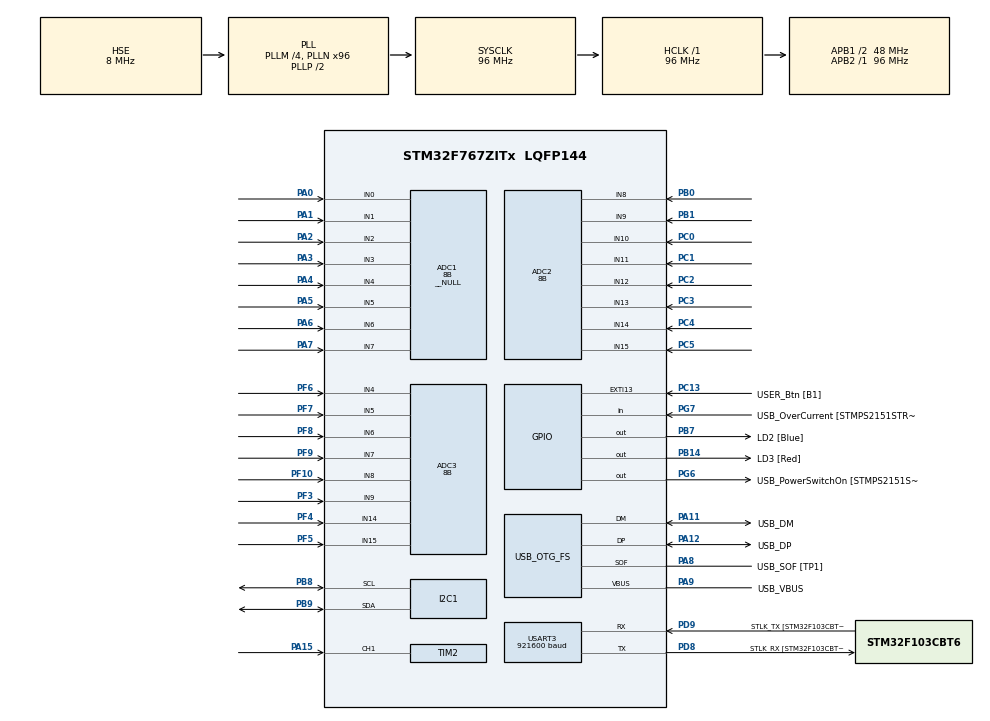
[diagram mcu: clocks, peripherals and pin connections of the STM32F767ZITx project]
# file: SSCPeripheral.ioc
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ADC1.Channel-0\#ChannelRegularConversion=ADC_CHANNEL_0
ADC1.Channel-1\#ChannelRegularConversion=ADC_CHANNEL_1
ADC1.Channel-2\#ChannelRegularConversion=ADC_CHANNEL_2
ADC1.Channel-3\#ChannelRegularConversion=ADC_CHANNEL_3
ADC1.Channel-4\#ChannelRegularConversion=ADC_CHANNEL_4
ADC1.Channel-5\#ChannelRegularConversion=ADC_CHANNEL_5
ADC1.Channel-6\#ChannelRegularConversion=ADC_CHANNEL_6
ADC1.Channel-7\#ChannelRegularConversion=ADC_CHANNEL_7
ADC1.ContinuousConvMode=ENABLE
ADC1.DMAContinuousRequests=ENABLE
ADC1.EOCSelection=ADC_EOC_SEQ_CONV
ADC1.Mode=__NULL
ADC1.NbrOfConversion=8
ADC1.NbrOfConversionFlag=1
ADC1.Rank-0\#ChannelRegularConversion=1
ADC1.Rank-1\#ChannelRegularConversion=2
ADC1.Rank-2\#ChannelRegularConversion=3
ADC1.Rank-3\#ChannelRegularConversion=4
ADC1.Rank-4\#ChannelRegularConversion=5
ADC1.Rank-5\#ChannelRegularConversion=6
ADC1.Rank-6\#ChannelRegularConversion=7
ADC1.Rank-7\#ChannelRegularConversion=8
ADC1.Resolution=ADC_RESOLUTION_8B
ADC1.SamplingTime-0\#ChannelRegularConversion=ADC_SAMPLETIME_3CYCLES
ADC1.SamplingTime-1\#ChannelRegularConversion=ADC_SAMPLETIME_3CYCLES
ADC1.SamplingTime-2\#ChannelRegularConversion=ADC_SAMPLETIME_3CYCLES
ADC1.SamplingTime-3\#ChannelRegularConversion=ADC_SAMPLETIME_3CYCLES
ADC1.SamplingTime-4\#ChannelRegularConversion=ADC_SAMPLETIME_3CYCLES
ADC1.SamplingTime-5\#ChannelRegularConversion=ADC_SAMPLETIME_3CYCLES
ADC1.SamplingTime-6\#ChannelRegularConversion=ADC_SAMPLETIME_3CYCLES
ADC1.SamplingTime-7\#ChannelRegularConversion=ADC_SAMPLETIME_3CYCLES
ADC1.ScanConvMode=ADC_SCAN_ENABLE
ADC1.master=1
ADC2.Channel-10\#ChannelRegularConversion=ADC_CHANNEL_10
ADC2.Channel-11\#ChannelRegularConversion=ADC_CHANNEL_11
ADC2.Channel-12\#ChannelRegularConversion=ADC_CHANNEL_12
ADC2.Channel-13\#ChannelRegularConversion=ADC_CHANNEL_13
ADC2.Channel-14\#ChannelRegularConversion=ADC_CHANNEL_14
ADC2.Channel-15\#ChannelRegularConversion=ADC_CHANNEL_15
ADC2.Channel-8\#ChannelRegularConversion=ADC_CHANNEL_8
ADC2.Channel-9\#ChannelRegularConversion=ADC_CHANNEL_9
ADC2.ContinuousConvMode=ENABLE
ADC2.DMAContinuousRequests=ENABLE
ADC2.EOCSelection=ADC_EOC_SEQ_CONV
ADC2.NbrOfConversion=8
ADC2.NbrOfConversionFlag=1
ADC2.Rank-10\#ChannelRegularConversion=3
ADC2.Rank-11\#ChannelRegularConversion=4
ADC2.Rank-12\#ChannelRegularConversion=5
ADC2.Rank-13\#ChannelRegularConversion=6
ADC2.Rank-14\#ChannelRegularConversion=7
ADC2.Rank-15\#ChannelRegularConversion=8
ADC2.Rank-8\#ChannelRegularConversion=1
ADC2.Rank-9\#ChannelRegularConversion=2
ADC2.Resolution=ADC_RESOLUTION_8B
ADC2.SamplingTime-10\#ChannelRegularConversion=ADC_SAMPLETIME_3CYCLES
ADC2.SamplingTime-11\#ChannelRegularConversion=ADC_SAMPLETIME_3CYCLES
ADC2.SamplingTime-12\#ChannelRegularConversion=ADC_SAMPLETIME_3CYCLES
ADC2.SamplingTime-13\#ChannelRegularConversion=ADC_SAMPLETIME_3CYCLES
ADC2.SamplingTime-14\#ChannelRegularConversion=ADC_SAMPLETIME_3CYCLES
ADC2.SamplingTime-15\#ChannelRegularConversion=ADC_SAMPLETIME_3CYCLES
ADC2.SamplingTime-8\#ChannelRegularConversion=ADC_SAMPLETIME_3CYCLES
ADC2.SamplingTime-9\#ChannelRegularConversion=ADC_SAMPLETIME_3CYCLES
ADC2.ScanConvMode=ADC_SCAN_ENABLE
ADC3.Channel-0\#ChannelRegularConversion=ADC_CHANNEL_4
ADC3.Channel-10\#ChannelRegularConversion=ADC_CHANNEL_14
ADC3.Channel-11\#ChannelRegularConversion=ADC_CHANNEL_15
ADC3.Channel-5\#ChannelRegularConversion=ADC_CHANNEL_5
ADC3.Channel-6\#ChannelRegularConversion=ADC_CHANNEL_6
ADC3.Channel-7\#ChannelRegularConversion=ADC_CHANNEL_7
ADC3.Channel-8\#ChannelRegularConversion=ADC_CHANNEL_8
ADC3.Channel-9\#ChannelRegularConversion=ADC_CHANNEL_9
ADC3.ContinuousConvMode=ENABLE
ADC3.DMAContinuousRequests=ENABLE
ADC3.EOCSelection=ADC_EOC_SEQ_CONV
ADC3.InjNumberOfConversion=0
ADC3.NbrOfConversion=8
ADC3.NbrOfConversionFlag=1
ADC3.Rank-0\#ChannelRegularConversion=1
ADC3.Rank-10\#ChannelRegularConversion=7
ADC3.Rank-11\#ChannelRegularConversion=8
ADC3.Rank-5\#ChannelRegularConversion=2
ADC3.Rank-6\#ChannelRegularConversion=3
ADC3.Rank-7\#ChannelRegularConversion=4
ADC3.Rank-8\#ChannelRegularConversion=5
ADC3.Rank-9\#ChannelRegularConversion=6
ADC3.Resolution=ADC_RESOLUTION_8B
ADC3.SamplingTime-0\#ChannelRegularConversion=ADC_SAMPLETIME_3CYCLES
ADC3.SamplingTime-10\#ChannelRegularConversion=ADC_SAMPLETIME_3CYCLES
ADC3.SamplingTime-11\#ChannelRegularConversion=ADC_SAMPLETIME_3CYCLES
ADC3.SamplingTime-5\#ChannelRegularConversion=ADC_SAMPLETIME_3CYCLES
ADC3.SamplingTime-6\#ChannelRegularConversion=ADC_SAMPLETIME_3CYCLES
ADC3.SamplingTime-7\#ChannelRegularConversion=ADC_SAMPLETIME_3CYCLES
ADC3.SamplingTime-8\#ChannelRegularConversion=ADC_SAMPLETIME_3CYCLES
ADC3.SamplingTime-9\#ChannelRegularConversion=ADC_SAMPLETIME_3CYCLES
ADC3.TwoSamplingDelay=ADC_TWOSAMPLINGDELAY_15CYCLES
Dma.ADC1.0.Direction=DMA_PERIPH_TO_MEMORY
Dma.ADC1.0.FIFOMode=DMA_FIFOMODE_DISABLE
Dma.ADC1.0.Instance=DMA2_Stream0
Dma.ADC1.0.MemDataAlignment=DMA_MDATAALIGN_HALFWORD
Dma.ADC1.0.MemInc=DMA_MINC_ENABLE
Dma.ADC1.0.Mode=DMA_CIRCULAR
Dma.ADC1.0.PeriphDataAlignment=DMA_PDATAALIGN_HALFWORD
Dma.ADC1.0.PeriphInc=DMA_PINC_DISABLE
Dma.ADC1.0.Priority=DMA_PRIORITY_LOW
Dma.ADC2.2.Direction=DMA_PERIPH_TO_MEMORY
Dma.ADC2.2.FIFOMode=DMA_FIFOMODE_DISABLE
Dma.ADC2.2.Instance=DMA2_Stream2
Dma.ADC2.2.MemDataAlignment=DMA_MDATAALIGN_HALFWORD
Dma.ADC2.2.MemInc=DMA_MINC_ENABLE
Dma.ADC2.2.Mode=DMA_CIRCULAR
Dma.ADC2.2.PeriphDataAlignment=DMA_PDATAALIGN_HALFWORD
Dma.ADC2.2.PeriphInc=DMA_PINC_DISABLE
Dma.ADC2.2.Priority=DMA_PRIORITY_LOW
Dma.ADC3.1.Direction=DMA_PERIPH_TO_MEMORY
Dma.ADC3.1.FIFOMode=DMA_FIFOMODE_DISABLE
Dma.ADC3.1.Instance=DMA2_Stream1
Dma.ADC3.1.MemDataAlignment=DMA_MDATAALIGN_HALFWORD
Dma.ADC3.1.MemInc=DMA_MINC_ENABLE
Dma.ADC3.1.Mode=DMA_CIRCULAR
Dma.ADC3.1.PeriphDataAlignment=DMA_PDATAALIGN_HALFWORD
Dma.ADC3.1.PeriphInc=DMA_PINC_DISABLE
Dma.ADC3.1.Priority=DMA_PRIORITY_LOW
Dma.Request0=ADC1
Dma.Request1=ADC3
Dma.Request2=ADC2
I2C1.OwnAddress=1
I2C1.Timing=0x20303E5D
Mcu.Family=STM32F7
Mcu.Name=STM32F767ZITx
Mcu.Package=LQFP144
NVIC.DMA2_Stream0_IRQn=true\:0\:0\:false\:false\:true\:false\:true
NVIC.DMA2_Stream1_IRQn=true\:0\:0\:false\:false\:true\:false\:true
NVIC.DMA2_Stream2_IRQn=true\:0\:0\:false\:false\:true\:false\:true
NVIC.I2C1_ER_IRQn=true\:0\:0\:false\:false\:true\:true\:true
NVIC.I2C1_EV_IRQn=true\:0\:0\:false\:false\:true\:true\:true
NVIC.PriorityGroup=NVIC_PRIORITYGROUP_4
PA0/WKUP.Signal=ADCx_IN0
PA1.Signal=ADCx_IN1
PA10.GPIO_Label=USB_ID
PA10.Signal=USB_OTG_FS_ID
PA11.GPIO_Label=USB_DM
PA11.Mode=Device_Only
PA11.Signal=USB_OTG_FS_DM
PA12.GPIO_Label=USB_DP
PA12.Mode=Device_Only
PA12.Signal=USB_OTG_FS_DP
PA13.GPIO_Label=TMS
PA13.Mode=Serial_Wire
PA13.Signal=SYS_JTMS-SWDIO
PA14.GPIO_Label=TCK
PA14.Mode=Serial_Wire
PA14.Signal=SYS_JTCK-SWCLK
PA15.Signal=S_TIM2_CH1_ETR
PA2.Signal=ADCx_IN2
PA3.Signal=ADCx_IN3
PA4.Signal=ADCx_IN4
PA5.Signal=ADCx_IN5
PA6.Signal=ADCx_IN6
PA7.Signal=ADCx_IN7
PA8.GPIO_Label=USB_SOF [TP1]
PA8.Mode=Activate_SOF_FS
PA8.Signal=USB_OTG_FS_SOF
PA9.GPIO_Label=USB_VBUS
PA9.Mode=Activate_VBUS
PA9.Signal=USB_OTG_FS_VBUS
PB0.Signal=ADCx_IN8
PB1.Signal=ADCx_IN9
PB13.GPIO_Label=RMII_TXD1 [LAN8742A-CZ-TR_TXD1]
PB13.Signal=ETH_TXD1
PB14.GPIO_Label=LD3 [Red]
PB14.Signal=GPIO_Output
PB3.GPIO_Label=SWO
PB3.Signal=SYS_JTDO-SWO
PB7.GPIO_Label=LD2 [Blue]
PB7.Signal=GPIO_Output
PB8.Mode=I2C
PB8.Signal=I2C1_SCL
PB9.Mode=I2C
PB9.Signal=I2C1_SDA
PC0.Signal=ADCx_IN10
PC1.Signal=ADCx_IN11
PC13.GPIO_Label=USER_Btn [B1]
PC13.Signal=GPXTI13
PC14/OSC32_IN.Mode=LSE-External-Oscillator
PC14/OSC32_IN.Signal=RCC_OSC32_IN
PC15/OSC32_OUT.Mode=LSE-External-Oscillator
PC15/OSC32_OUT.Signal=RCC_OSC32_OUT
PC2.Signal=ADCx_IN12
PC3.Signal=ADCx_IN13
PC4.Signal=ADCx_IN14
PC5.Signal=ADCx_IN15
PD8.GPIO_Label=STLK_RX [STM32F103CBT6_PA3]
PD8.Mode=Asynchronous
PD8.Signal=USART3_TX
PD9.GPIO_Label=STLK_TX [STM32F103CBT6_PA2]
PD9.Mode=Asynchronous
PD9.Signal=USART3_RX
PF10.Mode=IN8
PF10.Signal=ADC3_IN8
PF3.Mode=IN9
PF3.Signal=ADC3_IN9
PF4.Mode=IN14
PF4.Signal=ADC3_IN14
PF5.Mode=IN15
PF5.Signal=ADC3_IN15
PF6.Mode=IN4
PF6.Signal=ADC3_IN4
PF7.Mode=IN5
PF7.Signal=ADC3_IN5
PF8.Mode=IN6
PF8.Signal=ADC3_IN6
PF9.Mode=IN7
PF9.Signal=ADC3_IN7
PG11.GPIO_Label=RMII_TX_EN [LAN8742A-CZ-TR_TXEN]
PG11.Signal=ETH_TX_EN
PG13.GPIO_Label=RMII_TXD0 [LAN8742A-CZ-TR_TXD0]
PG13.Signal=ETH_TXD0
PG6.GPIO_Label=USB_PowerSwitchOn [STMPS2151STR_EN]
PG6.Signal=GPIO_Output
PG7.GPIO_Label=USB_OverCurrent [STMPS2151STR_FAULT]
PG7.Signal=GPIO_Input
PH0/OSC_IN.GPIO_Label=MCO [STM32F103CBT6_PA8]
PH0/OSC_IN.Mode=HSE-External-Clock-Source
PH0/OSC_IN.Signal=RCC_OSC_IN
PH1/OSC_OUT.Mode=HSE-External-Clock-Source
PH1/OSC_OUT.Signal=RCC_OSC_OUT
ProjectManager.HeapSize=0x80000
ProjectManager.StackSize=0x400
ProjectManager.TargetToolchain=STM32CubeIDE
RCC.48MHZClocksFreq_Value=24000000
RCC.AHBFreq_Value=96000000
RCC.APB1CLKDivider=RCC_HCLK_DIV2
RCC.APB1Freq_Value=48000000
RCC.APB1TimFreq_Value=96000000
RCC.APB2Freq_Value=96000000
RCC.APB2TimFreq_Value=96000000
RCC.CortexFreq_Value=96000000
RCC.HCLKFreq_Value=96000000
RCC.HSE_VALUE=8000000
RCC.HSI_VALUE=16000000
RCC.PLLM=4
RCC.PLLMUL=RCC_PLL_MUL9
RCC.PLLN=96
RCC.PLLQ=4
RCC.PRESCALERUSB=RCC_USBCLKSOURCE_PLL_DIV1_5
RCC.SYSCLKFreq_VALUE=96000000
RCC.SYSCLKSource=RCC_SYSCLKSOURCE_PLLCLK
RCC.SYSCLKSourceVirtual=RCC_SYSCLKSOURCE_PLLCLK
RCC.USBFreq_Value=48000000
RCC.VCOOutputFreq_Value=192000000
SH.ADCx_IN0.0=ADC1_IN0,IN0
SH.ADCx_IN1.0=ADC1_IN1,IN1
SH.ADCx_IN10.0=ADC2_IN10,IN10
SH.ADCx_IN11.0=ADC1_IN11
SH.ADCx_IN11.1=ADC2_IN11,IN11
SH.ADCx_IN12.0=ADC2_IN12,IN12
SH.ADCx_IN13.0=ADC2_IN13,IN13
SH.ADCx_IN14.0=ADC1_IN14
SH.ADCx_IN14.1=ADC2_IN14,IN14
SH.ADCx_IN15.0=ADC1_IN15
SH.ADCx_IN15.1=ADC2_IN15,IN15
SH.ADCx_IN2.0=ADC1_IN2,IN2
SH.ADCx_IN3.0=ADC1_IN3,IN3
SH.ADCx_IN4.0=ADC1_IN4,IN4
SH.ADCx_IN5.0=ADC1_IN5,IN5
SH.ADCx_IN6.0=ADC1_IN6,IN6
SH.ADCx_IN7.0=ADC1_IN7,IN7
SH.ADCx_IN8.0=ADC1_IN8
SH.ADCx_IN8.1=ADC2_IN8,IN8
SH.ADCx_IN9.0=ADC2_IN9,IN9
SH.S_TIM2_CH1_ETR.0=TIM2_CH1,Input_Capture1_from_TI1
TIM2.Channel-Input_Capture1_from_TI1=TIM_CHANNEL_1
TIM2.Prescaler=95
USART3.BaudRate=921600
USART3.VirtualMode-Asynchronous=VM_ASYNC
USB_OTG_FS.VirtualMode=Device_Only
VP_TIM2_VS_ClockSourceINT.Mode=Internal
board=NUCLEO-F767ZI

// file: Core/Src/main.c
/* USER CODE BEGIN Header */
/**
  ******************************************************************************
  * @file           : main.c
  * @brief          : Main program body
  ******************************************************************************
  * @attention
  *
  * <h2><center>&copy; Copyright (c) 2021 STMicroelectronics.
  * All rights reserved.</center></h2>
  *
  * This software component is licensed by ST under BSD 3-Clause license,
  * the "License"; You may not use this file except in compliance with the
  * License. You may obtain a copy of the License at:
  *                        opensource.org/licenses/BSD-3-Clause
  *
  ******************************************************************************
  */
/* USER CODE END Header */
#include "main.h"

/* USER CODE BEGIN Includes */
#include <string.h>
#include <stdio.h>
#include <stdlib.h>

#include "I2CNetworkCommon.h"
#include "PeripheralReceiveCommands.h"
#include "TimeHelpers.h"
#include "ADCHelper.h"
/* USER CODE END Includes */

/* USER CODE BEGIN PD */
#define COMMAND_BUF_SIZE 1

/* USER CODE END PD */

ADC_HandleTypeDef hadc1;
ADC_HandleTypeDef hadc2;
ADC_HandleTypeDef hadc3;
DMA_HandleTypeDef hdma_adc1;
DMA_HandleTypeDef hdma_adc2;
DMA_HandleTypeDef hdma_adc3;

I2C_HandleTypeDef hi2c1;

TIM_HandleTypeDef htim2;

UART_HandleTypeDef huart3;

PCD_HandleTypeDef hpcd_USB_OTG_FS;

/* USER CODE BEGIN PV */

uint8_t commandBuf[COMMAND_BUF_SIZE];

int needToListenAgain = 0; //Temp. Used to flash LEDs outside of interrupt when an interrupt wants to flash them.

int needToFlashRed = 0; //Temp. Used to flash just the red one.
int needToFlashBlue = 0; //Temp. Used to flash just the blue one.

int paramsSet = 0; //1 if params have been set at least once.
sampleParams params; //Configuration for collecting samples - device count, buffer size, etc.

int needToStartSampling = 0; //1 when interrupt has triggered the sample to start, but that should happen in main loop.
int hasStartedSampling = 0; //1 when DMA sampling has started and has not finished yet.

/*
int hasFinishedSampling()
{
	return (*HasFinishedSampling(ADC_1) == 1 && *HasFinishedSampling(ADC_3) == 1);
}
*/

int hasProcessedFinishedSamples = 0; //True after sampling has finished and we've made them into sample packets ready for collection.

//From original, somewhat modified.
//uint16_t** transmitBuffers_ADC1; //Filled with data from adc1_buf as it completes, and remains until cleared.
//uint16_t** transmitBuffers_ADC3; //Filled with data from adc3_buf as it completes, and remains until cleared.

samplePacketHeader** processedHeaders;
uint16_t** processedSamples;

//Timing

//int currentCycle = 0;

//int currentCycle_ADC1 = 0;
//int currentCycle_ADC3 = 0;

/* USER CODE END PV */

void SystemClock_Config(void);
static void MX_GPIO_Init(void);
static void MX_DMA_Init(void);
static void MX_USART3_UART_Init(void);
static void MX_USB_OTG_FS_PCD_Init(void);
static void MX_I2C1_Init(void);
static void MX_ADC1_Init(void);
static void MX_TIM2_Init(void);
static void MX_ADC3_Init(void);
static void MX_ADC2_Init(void);
/* USER CODE BEGIN PFP */

void PrintUARTMessage(UART_HandleTypeDef *huart, const char message[]);

void ADC_DMAConvCplt_M1(DMA_HandleTypeDef *hdma); //Separate method called specifically when second buffer (DBM mode) finished.

/* USER CODE END PFP */

int main(void)
{

  /* MCU Configuration--------------------------------------------------------*/

  /* Reset of all peripherals, Initializes the Flash interface and the Systick. */
  HAL_Init();

  /* Configure the system clock */
  SystemClock_Config();

  /* Initialize all configured peripherals */
  MX_GPIO_Init();
  MX_DMA_Init();
  MX_USART3_UART_Init();
  MX_USB_OTG_FS_PCD_Init();
  MX_I2C1_Init();
  MX_ADC1_Init();
  MX_TIM2_Init();
  MX_ADC3_Init();
  MX_ADC2_Init();
  /* USER CODE BEGIN 2 */

  //Init the helper.
  InitADCHelper(&hadc1, &hadc2, &hadc3);

  //Make sure blue is reset, so we know we're not a host.
  HAL_GPIO_WritePin(LD2_GPIO_Port, LD2_Pin, GPIO_PIN_RESET);
  //Red to indicate that this is a peripheral.
  HAL_GPIO_WritePin(LD3_GPIO_Port, LD3_Pin, GPIO_PIN_SET);

  //Enable register 1 for the timer.
  //This would go better in that init function, but as I can't find how to enable it via the Cube GUI, I'd rather keep all my own init code in one place.
  //Useful thread about this and related topics: https://stackoverflow.com/questions/42747128/does-hal-gettick-return-ticks-or-milliseconds-and-how-to-measure-in-microsec
  //Copied from original.
  TIM2->CR1 = TIM_CR1_CEN;

  //Set up double buffer mode and M1 callback on DMA handles.
  hadc1.DMA_Handle->Instance->CR |= DMA_SxCR_DBM_Msk;
  hadc1.DMA_Handle->XferM1CpltCallback = ADC_DMAConvCplt_M1;

  hadc2.DMA_Handle->Instance->CR |= DMA_SxCR_DBM_Msk;
  hadc2.DMA_Handle->XferM1CpltCallback = ADC_DMAConvCplt_M1;

  hadc3.DMA_Handle->Instance->CR |= DMA_SxCR_DBM_Msk;
  hadc3.DMA_Handle->XferM1CpltCallback = ADC_DMAConvCplt_M1;

  HAL_I2C_Slave_Receive_IT(&hi2c1, commandBuf, COMMAND_BUF_SIZE);

  /* USER CODE END 2 */

  /* Infinite loop */
  /* USER CODE BEGIN WHILE */
  while (1)
  {
	  if(needToListenAgain == 1)
	  {
		  HAL_I2C_Slave_Receive_IT(&hi2c1, commandBuf, COMMAND_BUF_SIZE);

		  /*
		  //Testing only having lights flash.
		  HAL_GPIO_WritePin(LD3_GPIO_Port, LD3_Pin, GPIO_PIN_RESET);
		  HAL_Delay(150);
		  HAL_GPIO_WritePin(LD3_GPIO_Port, LD3_Pin, GPIO_PIN_SET);
		  */
		  needToListenAgain = 0;
	  }

	  //See if we've been told to start sampling.
	  if(needToStartSampling == 1)
	  {
		  //Check to see if the delay time has passed the requested delay.
		  uint32_t ticksSinceStartSamplingCommand = ReadCurrentTicks(htim2);
		  uint32_t msSinceStartSamplingCommand = TicksToSubSecond(htim2, ticksSinceStartSamplingCommand, MILLISECOND_DIVIDER);

		  if(msSinceStartSamplingCommand > params.DelayMS)
		  {
              needToStartSampling = 0;
              hasStartedSampling = 1;
              hasProcessedFinishedSamples = 0;

              StartSampling(htim2);

              HAL_GPIO_WritePin(LD2_GPIO_Port, LD2_Pin, GPIO_PIN_SET);
		  }
	  }

	  //Stop the DMA cycles if needed.
	  if(hasProcessedFinishedSamples == 0)
	  {
		  if(*HasFinishedSampling(ADC_1) == 1)
		  {
			  HAL_ADC_Stop_DMA(&hadc1);
		  }
		  if(*HasFinishedSampling(ADC_2) == 1 && hasProcessedFinishedSamples == 0 )
		  {
			  HAL_ADC_Stop_DMA(&hadc2);
		  }
		  if(*HasFinishedSampling(ADC_3) == 1 && hasProcessedFinishedSamples == 0 )
		  {
			  HAL_ADC_Stop_DMA(&hadc3);
		  }

		  //If both are done, process the samples.
		  if(AreAllADCsFinishedSampling() == 1)
		  //if(hasFinishedSampling_ADC1 == 1 && hasFinishedSampling_ADC3 == 1 && hasProcessedFinishedSamples == 0)
		  {
			  for(int cycle = 0; cycle < params.CycleCount; cycle ++)
			  {
				  for(int device = 0; device < TOTAL_DEVICE_COUNT; device++)
				  {
					  //Determine which device we're from and device within sample.
					  //Temp, should ideally be abstracted into a method to make this easier.
					  enum ADCNumber adcNumber;
					  int deviceIDWithinADC;
					  if(device < DeviceCount(ADC_1))
					  {
						  adcNumber = ADC_1;
						  deviceIDWithinADC = device;
					  }
					  else if (device < DeviceCount(ADC_1) + DeviceCount(ADC_2))
					  {
						  adcNumber = ADC_2;
						  deviceIDWithinADC = device - DeviceCount(ADC_1);
					  }
					  else
					  {
						  adcNumber = ADC_3;
						  deviceIDWithinADC = device - DeviceCount(ADC_1) - DeviceCount(ADC_2);
					  }

					  int sampleID = cycle * TOTAL_DEVICE_COUNT + device;

					  //Allocate buffers for the processed header and samples.

					  processedHeaders[sampleID] = malloc(sizeof(samplePacketHeader)); //Shouldn't need but we'll see.
					  processedSamples[sampleID] = calloc(BUFFER_SIZE_PER_DEVICE, sizeof(uint16_t));

					  uint32_t startTimeTicks = cycle == 0 ? *FirstCycleStartTicks(adcNumber) : (*CycleEndTimes(adcNumber))[cycle - 1];
					  uint32_t startTimeUs = TicksToSubSecond(htim2, startTimeTicks, MICROSECOND_DIVIDER);
					  uint32_t endTimeUs = TicksToSubSecond(htim2, (*CycleEndTimes(adcNumber))[cycle], MICROSECOND_DIVIDER);

					  samplePacketHeader* header = processedHeaders[sampleID];
					  header->DeviceID = device;
					  header->SampleID = sampleID;
					  header->startTimeUs = startTimeUs;
					  header->endTimeUs = endTimeUs;
					  header->AnalogInPinCount = TOTAL_DEVICE_COUNT;
					  header->SampleCount = BUFFER_SIZE_PER_DEVICE;

					  processedHeaders[sampleID] = header;

					  for(int i = 0; i < BUFFER_SIZE_PER_DEVICE; i++)
					  {
						  //processedSamples[sampleID][i] = (*TransmitBuffer(adcNumber))[cycle][i * DeviceCount(adcNumber) + deviceIDWithinADC];
						  uint16_t sample = (*TransmitBuffer(adcNumber))[cycle][i * DeviceCount(adcNumber) + deviceIDWithinADC];
						  processedSamples[sampleID][i] = sample;
					  }

				  }

				  free((*TransmitBuffer(ADC_1))[cycle]);
				  free((*TransmitBuffer(ADC_2))[cycle]);
				  free((*TransmitBuffer(ADC_3))[cycle]);
			  }

			  /*
			  //Debug
			  int totalSamples = TOTAL_DEVICE_COUNT * params.CycleCount;
			  samplePacketHeader debugHeaders[totalSamples];
			  uint16_t debugSamples[totalSamples][BUFFER_SIZE_PER_DEVICE];
			  for(int i = 0; i < totalSamples; i++)
			  {
				  samplePacketHeader header = *processedHeaders[i];
				  debugHeaders[i] = header;
				  for(int j = 0; j < BUFFER_SIZE_PER_DEVICE; j++)
				  {
					  debugSamples[i][j] = processedSamples[i][j];
				  }
			  }
			*/

			  hasProcessedFinishedSamples = 1;

			  HAL_GPIO_WritePin(LD2_GPIO_Port, LD2_Pin, GPIO_PIN_RESET);
		  }
  	  }

	  if(needToFlashRed == 1)
	  	  {
	  		  HAL_GPIO_WritePin(LD3_GPIO_Port, LD3_Pin, GPIO_PIN_RESET);
	  		  HAL_Delay(150);
	  		  HAL_GPIO_WritePin(LD3_GPIO_Port, LD3_Pin, GPIO_PIN_SET);

	  		  needToFlashRed = 0;
	  	  }

	  if(needToFlashBlue == 1)
	  {
		  //HAL_GPIO_WritePin(LD2_GPIO_Port, LD2_Pin, GPIO_PIN_SET);
		  //HAL_Delay(200);
		  HAL_GPIO_WritePin(LD2_GPIO_Port, LD2_Pin, GPIO_PIN_RESET);

		  needToFlashBlue = 0;
	  }

    /* USER CODE END WHILE */

  }
}

void SystemClock_Config(void)
{
  RCC_OscInitTypeDef RCC_OscInitStruct = {0};
  RCC_ClkInitTypeDef RCC_ClkInitStruct = {0};
  RCC_PeriphCLKInitTypeDef PeriphClkInitStruct = {0};

  /** Configure LSE Drive Capability
  */
  HAL_PWR_EnableBkUpAccess();
  /** Configure the main internal regulator output voltage
  */
  __HAL_RCC_PWR_CLK_ENABLE();
  __HAL_PWR_VOLTAGESCALING_CONFIG(PWR_REGULATOR_VOLTAGE_SCALE3);
  /** Initializes the RCC Oscillators according to the specified parameters
  * in the RCC_OscInitTypeDef structure.
  */
  RCC_OscInitStruct.OscillatorType = RCC_OSCILLATORTYPE_HSE;
  RCC_OscInitStruct.HSEState = RCC_HSE_BYPASS;
  RCC_OscInitStruct.PLL.PLLState = RCC_PLL_ON;
  RCC_OscInitStruct.PLL.PLLSource = RCC_PLLSOURCE_HSE;
  RCC_OscInitStruct.PLL.PLLM = 4;
  RCC_OscInitStruct.PLL.PLLN = 96;
  RCC_OscInitStruct.PLL.PLLP = RCC_PLLP_DIV2;
  RCC_OscInitStruct.PLL.PLLQ = 4;
  if (HAL_RCC_OscConfig(&RCC_OscInitStruct) != HAL_OK)
  {
    Error_Handler();
  }
  /** Activate the Over-Drive mode
  */
  if (HAL_PWREx_EnableOverDrive() != HAL_OK)
  {
    Error_Handler();
  }
  /** Initializes the CPU, AHB and APB buses clocks
  */
  RCC_ClkInitStruct.ClockType = RCC_CLOCKTYPE_HCLK|RCC_CLOCKTYPE_SYSCLK
                              |RCC_CLOCKTYPE_PCLK1|RCC_CLOCKTYPE_PCLK2;
  RCC_ClkInitStruct.SYSCLKSource = RCC_SYSCLKSOURCE_PLLCLK;
  RCC_ClkInitStruct.AHBCLKDivider = RCC_SYSCLK_DIV1;
  RCC_ClkInitStruct.APB1CLKDivider = RCC_HCLK_DIV2;
  RCC_ClkInitStruct.APB2CLKDivider = RCC_HCLK_DIV1;

  if (HAL_RCC_ClockConfig(&RCC_ClkInitStruct, FLASH_LATENCY_3) != HAL_OK)
  {
    Error_Handler();
  }
  PeriphClkInitStruct.PeriphClockSelection = RCC_PERIPHCLK_USART3|RCC_PERIPHCLK_I2C1
                              |RCC_PERIPHCLK_CLK48;
  PeriphClkInitStruct.Usart3ClockSelection = RCC_USART3CLKSOURCE_PCLK1;
  PeriphClkInitStruct.I2c1ClockSelection = RCC_I2C1CLKSOURCE_PCLK1;
  PeriphClkInitStruct.Clk48ClockSelection = RCC_CLK48SOURCE_PLL;
  if (HAL_RCCEx_PeriphCLKConfig(&PeriphClkInitStruct) != HAL_OK)
  {
    Error_Handler();
  }
}

static void MX_ADC1_Init(void)
{

  ADC_ChannelConfTypeDef sConfig = {0};

  /** Configure the global features of the ADC (Clock, Resolution, Data Alignment and number of conversion)
  */
  hadc1.Instance = ADC1;
  hadc1.Init.ClockPrescaler = ADC_CLOCK_SYNC_PCLK_DIV4;
  hadc1.Init.Resolution = ADC_RESOLUTION_8B;
  hadc1.Init.ScanConvMode = ADC_SCAN_ENABLE;
  hadc1.Init.ContinuousConvMode = ENABLE;
  hadc1.Init.DiscontinuousConvMode = DISABLE;
  hadc1.Init.ExternalTrigConvEdge = ADC_EXTERNALTRIGCONVEDGE_NONE;
  hadc1.Init.ExternalTrigConv = ADC_SOFTWARE_START;
  hadc1.Init.DataAlign = ADC_DATAALIGN_RIGHT;
  hadc1.Init.NbrOfConversion = 8;
  hadc1.Init.DMAContinuousRequests = ENABLE;
  hadc1.Init.EOCSelection = ADC_EOC_SEQ_CONV;
  if (HAL_ADC_Init(&hadc1) != HAL_OK)
  {
    Error_Handler();
  }
  /** Configure for the selected ADC regular channel its corresponding rank in the sequencer and its sample time.
  */
  sConfig.Channel = ADC_CHANNEL_0;
  sConfig.Rank = ADC_REGULAR_RANK_1;
  sConfig.SamplingTime = ADC_SAMPLETIME_3CYCLES;
  if (HAL_ADC_ConfigChannel(&hadc1, &sConfig) != HAL_OK)
  {
    Error_Handler();
  }
  /** Configure for the selected ADC regular channel its corresponding rank in the sequencer and its sample time.
  */
  sConfig.Channel = ADC_CHANNEL_1;
  sConfig.Rank = ADC_REGULAR_RANK_2;
  if (HAL_ADC_ConfigChannel(&hadc1, &sConfig) != HAL_OK)
  {
    Error_Handler();
  }
  /** Configure for the selected ADC regular channel its corresponding rank in the sequencer and its sample time.
  */
  sConfig.Channel = ADC_CHANNEL_2;
  sConfig.Rank = ADC_REGULAR_RANK_3;
  if (HAL_ADC_ConfigChannel(&hadc1, &sConfig) != HAL_OK)
  {
    Error_Handler();
  }
  /** Configure for the selected ADC regular channel its corresponding rank in the sequencer and its sample time.
  */
  sConfig.Channel = ADC_CHANNEL_3;
  sConfig.Rank = ADC_REGULAR_RANK_4;
  if (HAL_ADC_ConfigChannel(&hadc1, &sConfig) != HAL_OK)
  {
    Error_Handler();
  }
  /** Configure for the selected ADC regular channel its corresponding rank in the sequencer and its sample time.
  */
  sConfig.Channel = ADC_CHANNEL_4;
  sConfig.Rank = ADC_REGULAR_RANK_5;
  if (HAL_ADC_ConfigChannel(&hadc1, &sConfig) != HAL_OK)
  {
    Error_Handler();
  }
  /** Configure for the selected ADC regular channel its corresponding rank in the sequencer and its sample time.
  */
  sConfig.Channel = ADC_CHANNEL_5;
  sConfig.Rank = ADC_REGULAR_RANK_6;
  if (HAL_ADC_ConfigChannel(&hadc1, &sConfig) != HAL_OK)
  {
    Error_Handler();
  }
  /** Configure for the selected ADC regular channel its corresponding rank in the sequencer and its sample time.
  */
  sConfig.Channel = ADC_CHANNEL_6;
  sConfig.Rank = ADC_REGULAR_RANK_7;
  if (HAL_ADC_ConfigChannel(&hadc1, &sConfig) != HAL_OK)
  {
    Error_Handler();
  }
  /** Configure for the selected ADC regular channel its corresponding rank in the sequencer and its sample time.
  */
  sConfig.Channel = ADC_CHANNEL_7;
  sConfig.Rank = ADC_REGULAR_RANK_8;
  if (HAL_ADC_ConfigChannel(&hadc1, &sConfig) != HAL_OK)
  {
    Error_Handler();
  }

}

static void MX_ADC2_Init(void)
{

  ADC_ChannelConfTypeDef sConfig = {0};

  /** Configure the global features of the ADC (Clock, Resolution, Data Alignment and number of conversion)
  */
  hadc2.Instance = ADC2;
  hadc2.Init.ClockPrescaler = ADC_CLOCK_SYNC_PCLK_DIV4;
  hadc2.Init.Resolution = ADC_RESOLUTION_8B;
  hadc2.Init.ScanConvMode = ADC_SCAN_ENABLE;
  hadc2.Init.ContinuousConvMode = ENABLE;
  hadc2.Init.DiscontinuousConvMode = DISABLE;
  hadc2.Init.ExternalTrigConvEdge = ADC_EXTERNALTRIGCONVEDGE_NONE;
  hadc2.Init.ExternalTrigConv = ADC_SOFTWARE_START;
  hadc2.Init.DataAlign = ADC_DATAALIGN_RIGHT;
  hadc2.Init.NbrOfConversion = 8;
  hadc2.Init.DMAContinuousRequests = ENABLE;
  hadc2.Init.EOCSelection = ADC_EOC_SEQ_CONV;
  if (HAL_ADC_Init(&hadc2) != HAL_OK)
  {
    Error_Handler();
  }
  /** Configure for the selected ADC regular channel its corresponding rank in the sequencer and its sample time.
  */
  sConfig.Channel = ADC_CHANNEL_8;
  sConfig.Rank = ADC_REGULAR_RANK_1;
  sConfig.SamplingTime = ADC_SAMPLETIME_3CYCLES;
  if (HAL_ADC_ConfigChannel(&hadc2, &sConfig) != HAL_OK)
  {
    Error_Handler();
  }
  /** Configure for the selected ADC regular channel its corresponding rank in the sequencer and its sample time.
  */
  sConfig.Channel = ADC_CHANNEL_9;
  sConfig.Rank = ADC_REGULAR_RANK_2;
  if (HAL_ADC_ConfigChannel(&hadc2, &sConfig) != HAL_OK)
  {
    Error_Handler();
  }
  /** Configure for the selected ADC regular channel its corresponding rank in the sequencer and its sample time.
  */
  sConfig.Channel = ADC_CHANNEL_10;
  sConfig.Rank = ADC_REGULAR_RANK_3;
  if (HAL_ADC_ConfigChannel(&hadc2, &sConfig) != HAL_OK)
  {
    Error_Handler();
  }
  /** Configure for the selected ADC regular channel its corresponding rank in the sequencer and its sample time.
  */
  sConfig.Channel = ADC_CHANNEL_11;
  sConfig.Rank = ADC_REGULAR_RANK_4;
  if (HAL_ADC_ConfigChannel(&hadc2, &sConfig) != HAL_OK)
  {
    Error_Handler();
  }
  /** Configure for the selected ADC regular channel its corresponding rank in the sequencer and its sample time.
  */
  sConfig.Channel = ADC_CHANNEL_12;
  sConfig.Rank = ADC_REGULAR_RANK_5;
  if (HAL_ADC_ConfigChannel(&hadc2, &sConfig) != HAL_OK)
  {
    Error_Handler();
  }
  /** Configure for the selected ADC regular channel its corresponding rank in the sequencer and its sample time.
  */
  sConfig.Channel = ADC_CHANNEL_13;
  sConfig.Rank = ADC_REGULAR_RANK_6;
  if (HAL_ADC_ConfigChannel(&hadc2, &sConfig) != HAL_OK)
  {
    Error_Handler();
  }
  /** Configure for the selected ADC regular channel its corresponding rank in the sequencer and its sample time.
  */
  sConfig.Channel = ADC_CHANNEL_14;
  sConfig.Rank = ADC_REGULAR_RANK_7;
  if (HAL_ADC_ConfigChannel(&hadc2, &sConfig) != HAL_OK)
  {
    Error_Handler();
  }
  /** Configure for the selected ADC regular channel its corresponding rank in the sequencer and its sample time.
  */
  sConfig.Channel = ADC_CHANNEL_15;
  sConfig.Rank = ADC_REGULAR_RANK_8;
  if (HAL_ADC_ConfigChannel(&hadc2, &sConfig) != HAL_OK)
  {
    Error_Handler();
  }

}

static void MX_ADC3_Init(void)
{

  ADC_ChannelConfTypeDef sConfig = {0};

  /** Configure the global features of the ADC (Clock, Resolution, Data Alignment and number of conversion)
  */
  hadc3.Instance = ADC3;
  hadc3.Init.ClockPrescaler = ADC_CLOCK_SYNC_PCLK_DIV4;
  hadc3.Init.Resolution = ADC_RESOLUTION_8B;
  hadc3.Init.ScanConvMode = ADC_SCAN_ENABLE;
  hadc3.Init.ContinuousConvMode = ENABLE;
  hadc3.Init.DiscontinuousConvMode = DISABLE;
  hadc3.Init.ExternalTrigConvEdge = ADC_EXTERNALTRIGCONVEDGE_NONE;
  hadc3.Init.ExternalTrigConv = ADC_SOFTWARE_START;
  hadc3.Init.DataAlign = ADC_DATAALIGN_RIGHT;
  hadc3.Init.NbrOfConversion = 8;
  hadc3.Init.DMAContinuousRequests = ENABLE;
  hadc3.Init.EOCSelection = ADC_EOC_SEQ_CONV;
  if (HAL_ADC_Init(&hadc3) != HAL_OK)
  {
    Error_Handler();
  }
  /** Configure for the selected ADC regular channel its corresponding rank in the sequencer and its sample time.
  */
  sConfig.Channel = ADC_CHANNEL_4;
  sConfig.Rank = ADC_REGULAR_RANK_1;
  sConfig.SamplingTime = ADC_SAMPLETIME_3CYCLES;
  if (HAL_ADC_ConfigChannel(&hadc3, &sConfig) != HAL_OK)
  {
    Error_Handler();
  }
  /** Configure for the selected ADC regular channel its corresponding rank in the sequencer and its sample time.
  */
  sConfig.Channel = ADC_CHANNEL_5;
  sConfig.Rank = ADC_REGULAR_RANK_2;
  if (HAL_ADC_ConfigChannel(&hadc3, &sConfig) != HAL_OK)
  {
    Error_Handler();
  }
  /** Configure for the selected ADC regular channel its corresponding rank in the sequencer and its sample time.
  */
  sConfig.Channel = ADC_CHANNEL_6;
  sConfig.Rank = ADC_REGULAR_RANK_3;
  if (HAL_ADC_ConfigChannel(&hadc3, &sConfig) != HAL_OK)
  {
    Error_Handler();
  }
  /** Configure for the selected ADC regular channel its corresponding rank in the sequencer and its sample time.
  */
  sConfig.Channel = ADC_CHANNEL_7;
  sConfig.Rank = ADC_REGULAR_RANK_4;
  if (HAL_ADC_ConfigChannel(&hadc3, &sConfig) != HAL_OK)
  {
    Error_Handler();
  }
  /** Configure for the selected ADC regular channel its corresponding rank in the sequencer and its sample time.
  */
  sConfig.Channel = ADC_CHANNEL_8;
  sConfig.Rank = ADC_REGULAR_RANK_5;
  if (HAL_ADC_ConfigChannel(&hadc3, &sConfig) != HAL_OK)
  {
    Error_Handler();
  }
  /** Configure for the selected ADC regular channel its corresponding rank in the sequencer and its sample time.
  */
  sConfig.Channel = ADC_CHANNEL_9;
  sConfig.Rank = ADC_REGULAR_RANK_6;
  if (HAL_ADC_ConfigChannel(&hadc3, &sConfig) != HAL_OK)
  {
    Error_Handler();
  }
  /** Configure for the selected ADC regular channel its corresponding rank in the sequencer and its sample time.
  */
  sConfig.Channel = ADC_CHANNEL_14;
  sConfig.Rank = ADC_REGULAR_RANK_7;
  if (HAL_ADC_ConfigChannel(&hadc3, &sConfig) != HAL_OK)
  {
    Error_Handler();
  }
  /** Configure for the selected ADC regular channel its corresponding rank in the sequencer and its sample time.
  */
  sConfig.Channel = ADC_CHANNEL_15;
  sConfig.Rank = ADC_REGULAR_RANK_8;
  if (HAL_ADC_ConfigChannel(&hadc3, &sConfig) != HAL_OK)
  {
    Error_Handler();
  }

}

static void MX_I2C1_Init(void)
{

  hi2c1.Instance = I2C1;
  hi2c1.Init.Timing = 0x20303E5D;
  hi2c1.Init.OwnAddress1 = 2;
  hi2c1.Init.AddressingMode = I2C_ADDRESSINGMODE_7BIT;
  hi2c1.Init.DualAddressMode = I2C_DUALADDRESS_DISABLE;
  hi2c1.Init.OwnAddress2 = 0;
  hi2c1.Init.OwnAddress2Masks = I2C_OA2_NOMASK;
  hi2c1.Init.GeneralCallMode = I2C_GENERALCALL_DISABLE;
  hi2c1.Init.NoStretchMode = I2C_NOSTRETCH_DISABLE;
  if (HAL_I2C_Init(&hi2c1) != HAL_OK)
  {
    Error_Handler();
  }
  /** Configure Analogue filter
  */
  if (HAL_I2CEx_ConfigAnalogFilter(&hi2c1, I2C_ANALOGFILTER_ENABLE) != HAL_OK)
  {
    Error_Handler();
  }
  /** Configure Digital filter
  */
  if (HAL_I2CEx_ConfigDigitalFilter(&hi2c1, 0) != HAL_OK)
  {
    Error_Handler();
  }

}

static void MX_TIM2_Init(void)
{

  TIM_ClockConfigTypeDef sClockSourceConfig = {0};
  TIM_MasterConfigTypeDef sMasterConfig = {0};
  TIM_IC_InitTypeDef sConfigIC = {0};

  htim2.Instance = TIM2;
  htim2.Init.Prescaler = 95;
  htim2.Init.CounterMode = TIM_COUNTERMODE_UP;
  htim2.Init.Period = 4294967295;
  htim2.Init.ClockDivision = TIM_CLOCKDIVISION_DIV1;
  htim2.Init.AutoReloadPreload = TIM_AUTORELOAD_PRELOAD_DISABLE;
  if (HAL_TIM_Base_Init(&htim2) != HAL_OK)
  {
    Error_Handler();
  }
  sClockSourceConfig.ClockSource = TIM_CLOCKSOURCE_INTERNAL;
  if (HAL_TIM_ConfigClockSource(&htim2, &sClockSourceConfig) != HAL_OK)
  {
    Error_Handler();
  }
  if (HAL_TIM_IC_Init(&htim2) != HAL_OK)
  {
    Error_Handler();
  }
  sMasterConfig.MasterOutputTrigger = TIM_TRGO_RESET;
  sMasterConfig.MasterSlaveMode = TIM_MASTERSLAVEMODE_DISABLE;
  if (HAL_TIMEx_MasterConfigSynchronization(&htim2, &sMasterConfig) != HAL_OK)
  {
    Error_Handler();
  }
  sConfigIC.ICPolarity = TIM_INPUTCHANNELPOLARITY_RISING;
  sConfigIC.ICSelection = TIM_ICSELECTION_DIRECTTI;
  sConfigIC.ICPrescaler = TIM_ICPSC_DIV1;
  sConfigIC.ICFilter = 0;
  if (HAL_TIM_IC_ConfigChannel(&htim2, &sConfigIC, TIM_CHANNEL_1) != HAL_OK)
  {
    Error_Handler();
  }

}

static void MX_USART3_UART_Init(void)
{

  huart3.Instance = USART3;
  huart3.Init.BaudRate = 921600;
  huart3.Init.WordLength = UART_WORDLENGTH_8B;
  huart3.Init.StopBits = UART_STOPBITS_1;
  huart3.Init.Parity = UART_PARITY_NONE;
  huart3.Init.Mode = UART_MODE_TX_RX;
  huart3.Init.HwFlowCtl = UART_HWCONTROL_NONE;
  huart3.Init.OverSampling = UART_OVERSAMPLING_16;
  huart3.Init.OneBitSampling = UART_ONE_BIT_SAMPLE_DISABLE;
  huart3.AdvancedInit.AdvFeatureInit = UART_ADVFEATURE_NO_INIT;
  if (HAL_UART_Init(&huart3) != HAL_OK)
  {
    Error_Handler();
  }

}

static void MX_USB_OTG_FS_PCD_Init(void)
{

  hpcd_USB_OTG_FS.Instance = USB_OTG_FS;
  hpcd_USB_OTG_FS.Init.dev_endpoints = 6;
  hpcd_USB_OTG_FS.Init.speed = PCD_SPEED_FULL;
  hpcd_USB_OTG_FS.Init.dma_enable = DISABLE;
  hpcd_USB_OTG_FS.Init.phy_itface = PCD_PHY_EMBEDDED;
  hpcd_USB_OTG_FS.Init.Sof_enable = ENABLE;
  hpcd_USB_OTG_FS.Init.low_power_enable = DISABLE;
  hpcd_USB_OTG_FS.Init.lpm_enable = DISABLE;
  hpcd_USB_OTG_FS.Init.vbus_sensing_enable = ENABLE;
  hpcd_USB_OTG_FS.Init.use_dedicated_ep1 = DISABLE;
  if (HAL_PCD_Init(&hpcd_USB_OTG_FS) != HAL_OK)
  {
    Error_Handler();
  }

}

static void MX_DMA_Init(void)
{

  /* DMA controller clock enable */
  __HAL_RCC_DMA2_CLK_ENABLE();

  /* DMA interrupt init */
  /* DMA2_Stream0_IRQn interrupt configuration */
  HAL_NVIC_SetPriority(DMA2_Stream0_IRQn, 0, 0);
  HAL_NVIC_EnableIRQ(DMA2_Stream0_IRQn);
  /* DMA2_Stream1_IRQn interrupt configuration */
  HAL_NVIC_SetPriority(DMA2_Stream1_IRQn, 0, 0);
  HAL_NVIC_EnableIRQ(DMA2_Stream1_IRQn);
  /* DMA2_Stream2_IRQn interrupt configuration */
  HAL_NVIC_SetPriority(DMA2_Stream2_IRQn, 0, 0);
  HAL_NVIC_EnableIRQ(DMA2_Stream2_IRQn);

}

static void MX_GPIO_Init(void)
{
  GPIO_InitTypeDef GPIO_InitStruct = {0};

  /* GPIO Ports Clock Enable */
  __HAL_RCC_GPIOC_CLK_ENABLE();
  __HAL_RCC_GPIOF_CLK_ENABLE();
  __HAL_RCC_GPIOH_CLK_ENABLE();
  __HAL_RCC_GPIOA_CLK_ENABLE();
  __HAL_RCC_GPIOB_CLK_ENABLE();
  __HAL_RCC_GPIOD_CLK_ENABLE();
  __HAL_RCC_GPIOG_CLK_ENABLE();

  /*Configure GPIO pin Output Level */
  HAL_GPIO_WritePin(GPIOB, LD3_Pin|LD2_Pin, GPIO_PIN_RESET);

  /*Configure GPIO pin Output Level */
  HAL_GPIO_WritePin(USB_PowerSwitchOn_GPIO_Port, USB_PowerSwitchOn_Pin, GPIO_PIN_RESET);

  /*Configure GPIO pin : USER_Btn_Pin */
  GPIO_InitStruct.Pin = USER_Btn_Pin;
  GPIO_InitStruct.Mode = GPIO_MODE_IT_RISING;
  GPIO_InitStruct.Pull = GPIO_NOPULL;
  HAL_GPIO_Init(USER_Btn_GPIO_Port, &GPIO_InitStruct);

  /*Configure GPIO pin : RMII_TXD1_Pin */
  GPIO_InitStruct.Pin = RMII_TXD1_Pin;
  GPIO_InitStruct.Mode = GPIO_MODE_AF_PP;
  GPIO_InitStruct.Pull = GPIO_NOPULL;
  GPIO_InitStruct.Speed = GPIO_SPEED_FREQ_VERY_HIGH;
  GPIO_InitStruct.Alternate = GPIO_AF11_ETH;
  HAL_GPIO_Init(RMII_TXD1_GPIO_Port, &GPIO_InitStruct);

  /*Configure GPIO pins : LD3_Pin LD2_Pin */
  GPIO_InitStruct.Pin = LD3_Pin|LD2_Pin;
  GPIO_InitStruct.Mode = GPIO_MODE_OUTPUT_PP;
  GPIO_InitStruct.Pull = GPIO_NOPULL;
  GPIO_InitStruct.Speed = GPIO_SPEED_FREQ_LOW;
  HAL_GPIO_Init(GPIOB, &GPIO_InitStruct);

  /*Configure GPIO pin : USB_PowerSwitchOn_Pin */
  GPIO_InitStruct.Pin = USB_PowerSwitchOn_Pin;
  GPIO_InitStruct.Mode = GPIO_MODE_OUTPUT_PP;
  GPIO_InitStruct.Pull = GPIO_NOPULL;
  GPIO_InitStruct.Speed = GPIO_SPEED_FREQ_LOW;
  HAL_GPIO_Init(USB_PowerSwitchOn_GPIO_Port, &GPIO_InitStruct);

  /*Configure GPIO pin : USB_OverCurrent_Pin */
  GPIO_InitStruct.Pin = USB_OverCurrent_Pin;
  GPIO_InitStruct.Mode = GPIO_MODE_INPUT;
  GPIO_InitStruct.Pull = GPIO_NOPULL;
  HAL_GPIO_Init(USB_OverCurrent_GPIO_Port, &GPIO_InitStruct);

  /*Configure GPIO pins : RMII_TX_EN_Pin RMII_TXD0_Pin */
  GPIO_InitStruct.Pin = RMII_TX_EN_Pin|RMII_TXD0_Pin;
  GPIO_InitStruct.Mode = GPIO_MODE_AF_PP;
  GPIO_InitStruct.Pull = GPIO_NOPULL;
  GPIO_InitStruct.Speed = GPIO_SPEED_FREQ_VERY_HIGH;
  GPIO_InitStruct.Alternate = GPIO_AF11_ETH;
  HAL_GPIO_Init(GPIOG, &GPIO_InitStruct);

}

/* USER CODE BEGIN 4 */

void HAL_I2C_SlaveRxCpltCallback(I2C_HandleTypeDef *hi2c)
{
	enum CommandType cType = (enum CommandType)commandBuf[0];

	switch(cType)
	{
	case SendSampleParams:

		if(paramsSet == 1)
		{
			int oldTotalPacketCount = params.CycleCount * TOTAL_DEVICE_COUNT;
			for(int i = 0; i < oldTotalPacketCount; i++)
			{
				free(processedHeaders[i]); //Might be able to free the root array too.
				free(processedSamples[i]);
			}
		}

		ReceiveSampleParamsCommand(hi2c, &params, &paramsSet);

		AllocateAllBuffersAndEndTimes(params.CycleCount);

		int totalPacketCount = params.CycleCount * TOTAL_DEVICE_COUNT;
		processedHeaders = calloc(totalPacketCount, sizeof(samplePacketHeader*));
		processedSamples = calloc(totalPacketCount, sizeof(uint16_t*));

		/*
		for(int i = 0; i < totalPacketCount; i++)
		{
			processedHeaders[i] = malloc(sizeof(samplePacketHeader)); //Shouldn't need but we'll see.
			processedSamples[i] = calloc(BUFFER_SIZE_PER_DEVICE, sizeof(uint16_t));
		}
	*/

		needToFlashRed = 1;
		//HAL_GPIO_WritePin(LD3_GPIO_Port, LD3_Pin, GPIO_PIN_RESET);

		break;
	case BeginSampling:
		if(hasStartedSampling == 0)
		{
			ResetClock(htim2);
			needToStartSampling = 1; //TODO: May need to reset other things here.
		}
		break;
	case CheckFinished:
		ReceiveCheckFinishedCommand(hi2c, hasProcessedFinishedSamples);
		break;
	case RequestTotalPacketCount: ;
		uint16_t totalPackets = params.CycleCount * (TOTAL_DEVICE_COUNT);
		ReceiveRequestTotalPacketCount(hi2c, totalPackets);
		break;
	case RequestSampleHeader:
		ReceiveRequestSampleHeaderCommand(hi2c, processedHeaders);
		break;
	case RequestSampleData:
		ReceiveRequestDataCommand(hi2c, processedSamples, BUFFER_SIZE_PER_DEVICE);
		break;
	}

	needToListenAgain = 1; //Causes the listen interrupt to be activated again in the main loop.
}

void Process_ADC_Buffer_Full(ADC_HandleTypeDef* hadc, int currentBufferTarget)
{
	enum ADCNumber adcNumber = GetADCEnumVal(hadc);

	if(hasStartedSampling == 1 && AreAllADCsFinishedSampling() == 0)
	{

		if(*HasFinishedSampling(adcNumber) == 1)
		{
			return;
		}

		uint32_t nowTicks = ReadCurrentTicks(htim2);

		uint16_t** transmitBuffers = (*TransmitBuffer(adcNumber));
		int* currentCycle = CurrentCycle(adcNumber);;

		//Log end time in ticks.
		(*CycleEndTimes(adcNumber))[*currentCycle] = nowTicks;

		//*currentCycle += 1;
		*currentCycle = *currentCycle + 1;

		if(*currentCycle < params.CycleCount - 1)
		{
			volatile uint32_t* targetBufferRegister = (currentBufferTarget == 1) ? &(hadc->DMA_Handle->Instance->M0AR) : &(hadc->DMA_Handle->Instance->M1AR);
			*targetBufferRegister = (uint32_t)transmitBuffers[*currentCycle + 1];

			if(adcNumber == ADC_3 && *currentCycle >= 6)
			{
				int x = 0;
				x++;
			}

		}
		else if (*currentCycle == params.CycleCount)
		{
			//*finishedSamplingFlag = 1;
			*HasFinishedSampling(adcNumber) = 1;

			//If this one finishing means that both are finished, flash LED.
			if(AreAllADCsFinishedSampling() == 1)
			{
				hasStartedSampling = 0;
				needToFlashBlue = 1;
			}
		}
	}
}

//Callback for when buffer is completely filled.
void HAL_ADC_ConvCpltCallback(ADC_HandleTypeDef* hadc)
{
	Process_ADC_Buffer_Full(hadc, 1);
}

void ADC_DMAConvCplt_M1(DMA_HandleTypeDef *hdma)
{
	Process_ADC_Buffer_Full(hdma->Parent, 0);
}

void PrintUARTMessage(UART_HandleTypeDef *huart, const char message[])
{

	HAL_UART_Transmit(huart, (uint8_t*)message, strlen(message), 10);
	char newLine[3] = "\r\n";
	HAL_UART_Transmit(huart, (uint8_t*)newLine, 2, 10);
}

/* USER CODE END 4 */

void Error_Handler(void)
{
  __disable_irq();
  while (1)
  {
  }
}

/************************ (C) COPYRIGHT STMicroelectronics *****END OF FILE****/
